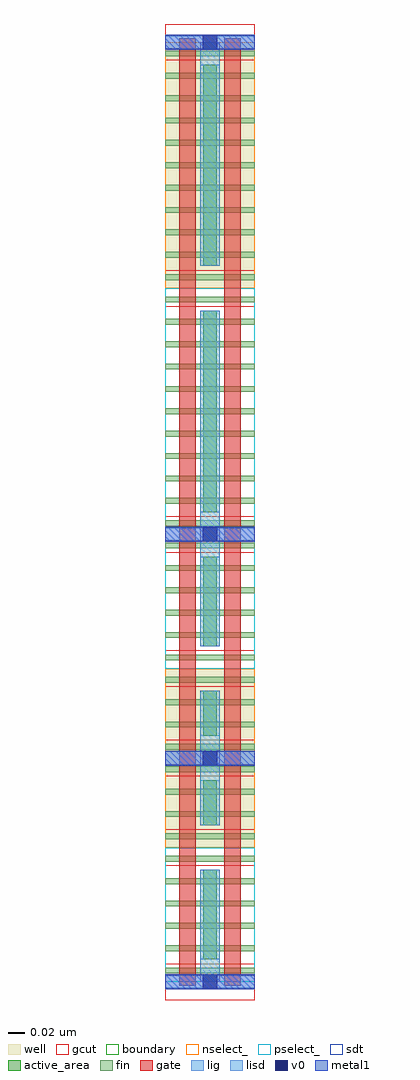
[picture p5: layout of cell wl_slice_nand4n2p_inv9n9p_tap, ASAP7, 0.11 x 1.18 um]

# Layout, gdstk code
import gdstk
lib = gdstk.Library(unit=1e-6, precision=1e-10)
def R(c, l, rs):  # rectangles x0, y0, x1, y1
    for r in rs: c.add(gdstk.rectangle(r[:2], r[2:], *l))
def A(c, l, x, y, w, h, nx, ny, dx, dy):  # array of equal rectangles
    R(c, l, [(x+i*dx, y+j*dy, x+i*dx+w, y+j*dy+h) for i in range(nx) for j in range(ny)])
well = (1, 0)
fin = (2, 0)
gate = (7, 0)
gcut = (10, 0)
active_area = (11, 0)
nselect_ = (12, 0)
pselect_ = (13, 0)
lig = (16, 0)
lisd = (17, 0)
v0 = (18, 0)
metal1 = (19, 0)
sdt = (88, 0)
boundary = (100, 0)

wl_slice_nand4n2p_inv9n9 = lib.new_cell('wl_slice_nand4n2p_inv9n9p_tap__nand')
R(wl_slice_nand4n2p_inv9n9, well, [(0,0.162,0.108,0.27)])
A(wl_slice_nand4n2p_inv9n9, fin, 0, 0.01, 0.108, 0.007, 1, 10, 0, 0.027)
R(wl_slice_nand4n2p_inv9n9, gate, [(0.017,-0.005,0.037,0.275), (0.071,-0.005,0.091,0.275)])
R(wl_slice_nand4n2p_inv9n9, gcut, [(0,-0.022,0.108,0.022), (0,0.14,0.108,0.184), (0,0.248,0.108,0.292)])
R(wl_slice_nand4n2p_inv9n9, active_area, [(0.046,0.027,0.062,0.135), (0.046,0.189,0.062,0.243)])
R(wl_slice_nand4n2p_inv9n9, nselect_, [(0,0.162,0.108,0.27)])
R(wl_slice_nand4n2p_inv9n9, pselect_, [(0,0,0.108,0.162)])
R(wl_slice_nand4n2p_inv9n9, lig, [(0,-0.008,0.108,0.008), (0,0.262,0.108,0.278)])
R(wl_slice_nand4n2p_inv9n9, lisd, [(0.042,0,0.066,0.135), (0.042,0.189,0.066,0.27)])
R(wl_slice_nand4n2p_inv9n9, v0, [(0.045,-0.009,0.063,0.009), (0.045,0.261,0.063,0.279)])
R(wl_slice_nand4n2p_inv9n9, metal1, [(0,-0.009,0.108,0.009), (0,0.261,0.108,0.279)])
R(wl_slice_nand4n2p_inv9n9, sdt, [(0.042,0.027,0.066,0.135), (0.042,0.189,0.066,0.243)])
R(wl_slice_nand4n2p_inv9n9, boundary, [(0,0,0.108,0.27)])
wl_slice_nand4n2p_inv9n9.add(gdstk.Label('VSS', (0.054,0), layer=19, texttype=251))
wl_slice_nand4n2p_inv9n9.add(gdstk.Label('VDD', (0.054,0.27), layer=19, texttype=251))

c_wl_slice_nand4n2p_inv9n9 = lib.new_cell('wl_slice_nand4n2p_inv9n9p_tap__drv')
R(c_wl_slice_nand4n2p_inv9n9, well, [(0,0.297,0.108,0.594)])
A(c_wl_slice_nand4n2p_inv9n9, fin, 0, 0.01, 0.108, 0.007, 1, 22, 0, 0.027)
R(c_wl_slice_nand4n2p_inv9n9, gate, [(0.017,-0.005,0.037,0.599), (0.071,-0.005,0.091,0.599)])
A(c_wl_slice_nand4n2p_inv9n9, gcut, 0, -0.022, 0.108, 0.044, 1, 3, 0, 0.297)
R(c_wl_slice_nand4n2p_inv9n9, active_area, [(0.046,0.027,0.062,0.27), (0.046,0.324,0.062,0.567)])
R(c_wl_slice_nand4n2p_inv9n9, nselect_, [(0,0.297,0.108,0.594)])
R(c_wl_slice_nand4n2p_inv9n9, pselect_, [(0,0,0.108,0.297)])
R(c_wl_slice_nand4n2p_inv9n9, lig, [(0,-0.008,0.108,0.008), (0,0.586,0.108,0.602)])
R(c_wl_slice_nand4n2p_inv9n9, lisd, [(0.042,0,0.066,0.27), (0.042,0.324,0.066,0.594)])
R(c_wl_slice_nand4n2p_inv9n9, v0, [(0.045,-0.009,0.063,0.009), (0.045,0.585,0.063,0.603)])
R(c_wl_slice_nand4n2p_inv9n9, metal1, [(0,-0.009,0.108,0.009), (0,0.585,0.108,0.603)])
R(c_wl_slice_nand4n2p_inv9n9, sdt, [(0.042,0.027,0.066,0.27), (0.042,0.324,0.066,0.567)])
R(c_wl_slice_nand4n2p_inv9n9, boundary, [(0,0,0.108,0.594)])
c_wl_slice_nand4n2p_inv9n9.add(gdstk.Label('VSS', (0.054,0), layer=19, texttype=251))
c_wl_slice_nand4n2p_inv9n9.add(gdstk.Label('VDD', (0.054,0.594), layer=19, texttype=251))

c_wl_slice_nand4n2p_inv9n9_ = lib.new_cell('wl_slice_nand4n2p_inv9n9p_tap')
c_wl_slice_nand4n2p_inv9n9_.add(gdstk.Reference(wl_slice_nand4n2p_inv9n9, (0,0)))
c_wl_slice_nand4n2p_inv9n9_.add(gdstk.Reference(wl_slice_nand4n2p_inv9n9, (0,0.54), x_reflection=True))
c_wl_slice_nand4n2p_inv9n9_.add(gdstk.Reference(c_wl_slice_nand4n2p_inv9n9, (0,0.54)))

lib.write_gds('wl_slice_nand4n2p_inv9n9p_tap.gds')
